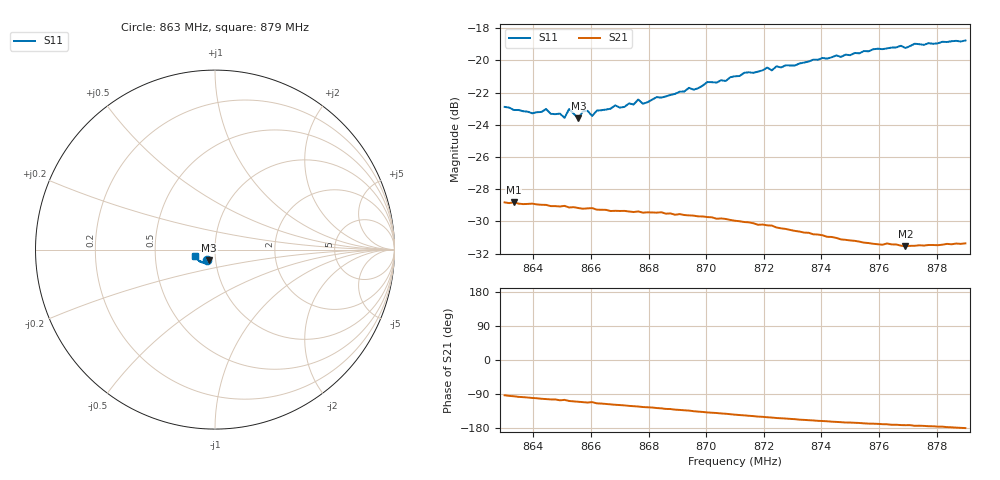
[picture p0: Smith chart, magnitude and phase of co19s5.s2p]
# HZ S RI R 50
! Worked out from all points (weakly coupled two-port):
!   101 points, 863 MHz to 879 MHz, reference 50 ohm
!   highest |S21| = -28.82 dB at 863.32 MHz (marker M1); lowest = -31.5 dB at 876.92 MHz (marker M2)
!   lowest |S11| = -23.6 dB at 865.56 MHz (marker M3), VSWR 1.14, Z = 46.6 - j5.39 ohm
!   |S11| at or under -10 dB: start of sweep to end of sweep
!   S12 and S22 are empty: the file has one direction only
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8.63e8  -0.0453 -0.0556  -0.00195 -0.0362  0 0  0 0
8.6332e8  -0.0433 -0.0552  -0.00354 -0.0361  0 0  0 0
8.6396e8  -0.0405 -0.0553  -0.00638 -0.0353  0 0  0 0
8.6444e8  -0.043 -0.0561  -0.00809 -0.0346  0 0  0 0
8.6508e8  -0.0328 -0.0576  -0.00926 -0.0341  0 0  0 0
8.6524e8  -0.041 -0.0575  -0.0109 -0.0332  0 0  0 0
8.6556e8  -0.0323 -0.0576  -0.012 -0.0327  0 0  0 0
8.6572e8  -0.0378 -0.0583  -0.0125 -0.0323  0 0  0 0
8.6588e8  -0.0383 -0.0583  -0.0131 -0.0321  0 0  0 0
8.6604e8  -0.0327 -0.0587  -0.0125 -0.0324  0 0  0 0
8.662e8  -0.0367 -0.0594  -0.0142 -0.0313  0 0  0 0
8.6684e8  -0.0367 -0.0626  -0.0161 -0.0301  0 0  0 0
8.6716e8  -0.0347 -0.0628  -0.0169 -0.0296  0 0  0 0
8.6764e8  -0.0381 -0.0653  -0.0184 -0.0285  0 0  0 0
8.678e8  -0.0363 -0.0638  -0.0189 -0.0279  0 0  0 0
8.6844e8  -0.0385 -0.0662  -0.0206 -0.0268  0 0  0 0
8.71e8  -0.0512 -0.0731  -0.0258 -0.0185  0 0  0 0
8.7372e8  -0.0703 -0.072  -0.027 -0.0101  0 0  0 0
8.7644e8  -0.092 -0.0597  -0.0265 -0.00425  0 0  0 0
8.7692e8  -0.0944 -0.0551  -0.0262 -0.0037  0 0  0 0
8.7724e8  -0.0991 -0.0537  -0.0264 -0.00296  0 0  0 0
8.79e8  -0.109 -0.0379  -0.027 -0.000157  0 0  0 0
